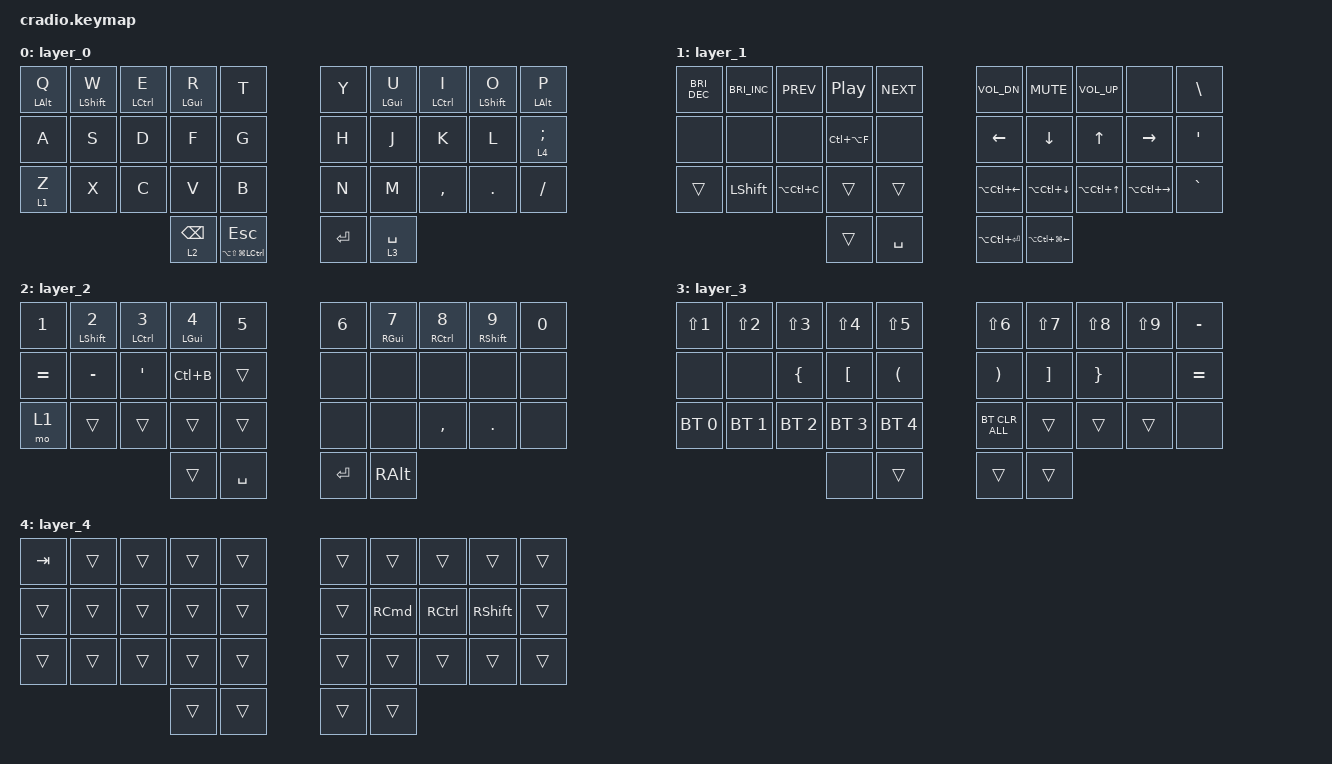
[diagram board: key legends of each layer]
/*
 * Copyright (c) 2020 The ZMK Contributors
 *
 * SPDX-License-Identifier: MIT
 */

#include <behaviors.dtsi>
#include <dt-bindings/zmk/bt.h>
#include <dt-bindings/zmk/keys.h>

#define ALL LA(LS(LG(LCTRL)))

&mt {
    quick-tap-ms = <175>;
    require-prior-idle-ms = <100>;
    flavor = "balanced";
    hold-trigger-on-release;
    hold-trigger-key-positions = <1 2 3 6 7 8 31 0 9>;
};

&key_repeat {
};

/ {
    behaviors {
        // Mod-tap with tap-preferred behavior and quick-tap settings that enable repeat

        mt_repeat: mt_repeat {
            compatible = "zmk,behavior-hold-tap";
            #binding-cells = <2>;
            flavor = "tap-preferred";
            tapping-term-ms = <200>;
            quick-tap-ms = <200>;
            require-prior-idle-ms = <100>;
            hold-trigger-on-release;
            hold-trigger-key-positions = <1 2 3 6 7 8 31 0 9>;
            bindings = <&kp>, <&kp>;
        };

        // Layer-tap with tap-preferred behavior and quick-tap settings that enable repeat

        lt_repeat: lt_repeat {
            compatible = "zmk,behavior-hold-tap";
            #binding-cells = <2>;
            flavor = "tap-preferred";
            tapping-term-ms = <200>;
            quick-tap-ms = <200>;
            require-prior-idle-ms = <100>;
            bindings = <&mo>, <&kp>;
        };
    };

    combos {
        compatible = "zmk,combos";

        Capslock {
            bindings = <&kp CAPSLOCK>;
            key-positions = <30 33>;
        };

        Lparen {
            bindings = <&kp LEFT_PARENTHESIS>;
            key-positions = <3 4>;
        };

        Rparen {
            bindings = <&kp RIGHT_PARENTHESIS>;
            key-positions = <5 6>;
        };

        Lbrack {
            bindings = <&kp LEFT_BRACKET>;
            key-positions = <13 14>;
        };

        Rbrack {
            bindings = <&kp RIGHT_BRACKET>;
            key-positions = <15 16>;
        };

        Lcurly {
            bindings = <&kp LEFT_BRACE>;
            key-positions = <23 24>;
        };

        Rcurly {
            bindings = <&kp RIGHT_BRACE>;
            key-positions = <26 25>;
        };
    };

    keymap {
        compatible = "zmk,keymap";

        layer_0 {
            bindings = <
&mt_repeat LEFT_ALT Q  &mt_repeat LEFT_SHIFT W  &mt_repeat LEFT_CONTROL E  &mt_repeat LEFT_GUI R   &kp T          &kp Y    &mt_repeat LEFT_GUI U  &mt_repeat LEFT_CONTROL I  &mt_repeat LEFT_SHIFT O  &mt_repeat LEFT_ALT P
&kp A                  &kp S                    &kp D                      &kp F                   &kp G          &kp H    &kp J                  &kp K                      &kp L                    &lt_repeat 4 SEMICOLON
&lt_repeat 1 Z         &kp X                    &kp C                      &kp V                   &kp B          &kp N    &kp M                  &kp COMMA                  &kp DOT                  &kp SLASH
                                                                           &lt_repeat 2 BACKSPACE  &mt ALL ESC    &kp RET  &lt_repeat 3 SPACE
            >;
        };

        layer_1 {
            bindings = <
&kp C_BRIGHTNESS_DEC  &kp C_BRIGHTNESS_INC  &kp C_PREV     &kp C_PLAY_PAUSE  &kp C_NEXT    &kp C_VOL_DN      &kp C_MUTE            &kp C_VOL_UP    &none              &kp BACKSLASH
&none                 &none                 &none          &kp LC(LA(F))     &none         &kp LEFT          &kp DOWN              &kp UP          &kp RIGHT          &kp SQT
&trans                &kp LEFT_SHIFT        &kp LA(LC(C))  &trans            &trans        &kp LA(LC(LEFT))  &kp LA(LC(DOWN))      &kp LA(LC(UP))  &kp LA(LC(RIGHT))  &kp GRAVE
                                                           &trans            &kp SPACE     &kp LA(LC(RET))   &kp LA(LC(LG(LEFT)))
            >;
        };

        layer_2 {
            bindings = <
&kp N1     &mt_repeat LEFT_SHIFT N2  &mt_repeat LEFT_CONTROL N3  &mt_repeat LEFT_GUI N4  &kp N5       &kp N6   &mt_repeat RIGHT_GUI N7  &mt_repeat RIGHT_CONTROL N8  &mt_repeat RIGHT_SHIFT N9  &kp N0
&kp EQUAL  &kp MINUS                 &kp SQT                     &kp LC(B)               &trans       &none    &none                    &none                        &none                      &none
&mo 1      &trans                    &trans                      &trans                  &trans       &none    &none                    &kp COMMA                    &kp PERIOD                 &none
                                                                 &trans                  &kp SPACE    &kp RET  &kp RALT
            >;
        };

        layer_3 {
            bindings = <
&kp LS(N1)    &kp LS(N2)    &kp LS(N3)      &kp LS(N4)        &kp LS(N5)      &kp LS(N6)      &kp LS(N7)         &kp LS(N8)       &kp LS(N9)  &kp MINUS
&none         &none         &kp LEFT_BRACE  &kp LEFT_BRACKET  &kp LPAR        &kp RPAR        &kp RIGHT_BRACKET  &kp RIGHT_BRACE  &none       &kp EQUAL
&bt BT_SEL 0  &bt BT_SEL 1  &bt BT_SEL 2    &bt BT_SEL 3      &bt BT_SEL 4    &bt BT_CLR_ALL  &trans             &trans           &trans      &none
                                            &none             &trans          &trans          &trans
            >;
        };

        layer_4 {
            bindings = <
&kp TAB  &trans  &trans  &trans  &trans    &trans  &trans    &trans     &trans           &trans
&trans   &trans  &trans  &trans  &trans    &trans  &kp RCMD  &kp RCTRL  &kp RIGHT_SHIFT  &trans
&trans   &trans  &trans  &trans  &trans    &trans  &trans    &trans     &trans           &trans
                         &trans  &trans    &trans  &trans
            >;
        };
    };
};
